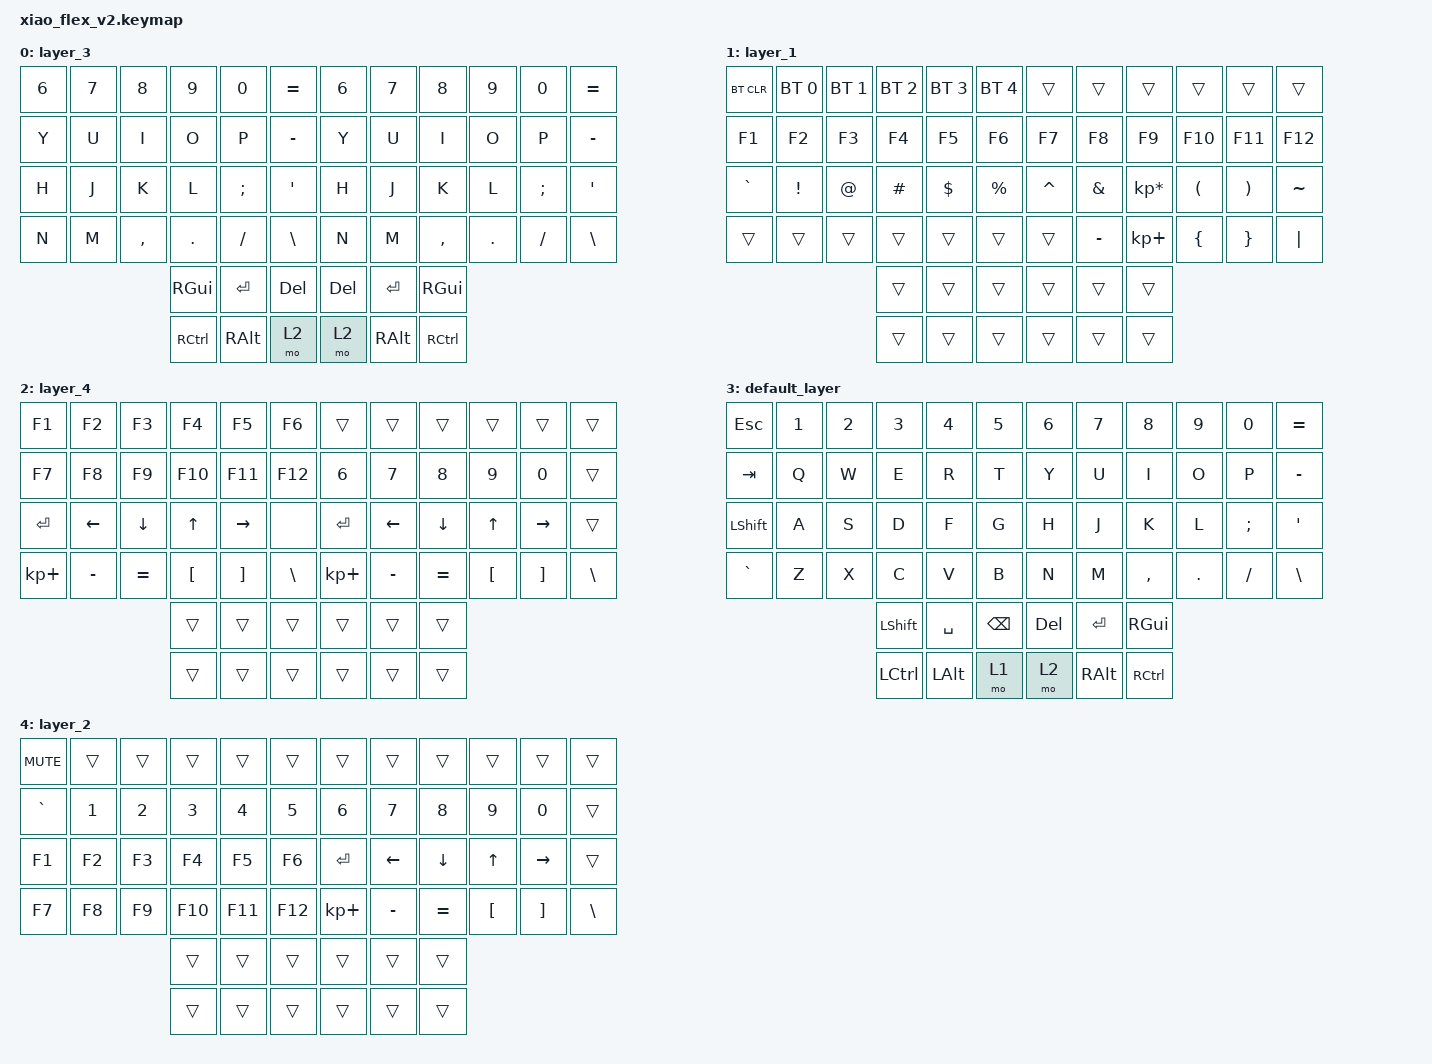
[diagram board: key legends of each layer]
/*
 * Copyright (c) 2020 The ZMK Contributors
 *
 * SPDX-License-Identifier: MIT
 */

#include <behaviors.dtsi>
#include <dt-bindings/zmk/bt.h>
#include <dt-bindings/zmk/keys.h>

/ {
    keymap {
        compatible = "zmk,keymap";

        layer_3 {
            bindings = <
&kp NUMBER_6  &kp NUMBER_7  &kp NUMBER_8  &kp NUMBER_9       &kp NUMBER_0   &kp EQUAL         &kp N6   &kp N7    &kp N8     &kp N9   &kp N0    &kp EQUAL
&kp Y         &kp U         &kp I         &kp O              &kp P          &kp MINUS         &kp Y    &kp U     &kp I      &kp O    &kp P     &kp MINUS
&kp H         &kp J         &kp K         &kp L              &kp SEMICOLON  &kp APOSTROPHE    &kp H    &kp J     &kp K      &kp L    &kp SEMI  &kp SQT
&kp N         &kp M         &kp COMMA     &kp PERIOD         &kp SLASH      &kp BACKSLASH     &kp N    &kp M     &kp COMMA  &kp DOT  &kp FSLH  &kp BSLH
                                          &kp RIGHT_GUI      &kp RETURN     &kp DELETE        &kp DEL  &kp RET   &kp RGUI
                                          &kp RIGHT_CONTROL  &kp RIGHT_ALT  &mo 2             &mo 2    &kp RALT  &kp RCTRL
            >;
        };

        layer_1 {
            bindings = <
&bt BT_CLR  &bt BT_SEL 0     &bt BT_SEL 1  &bt BT_SEL 2  &bt BT_SEL 3  &bt BT_SEL 4    &trans     &trans         &trans           &trans                &trans                 &trans
&kp F1      &kp F2           &kp F3        &kp F4        &kp F5        &kp F6          &kp F7     &kp F8         &kp F9           &kp F10               &kp F11                &kp F12
&kp GRAVE   &kp EXCLAMATION  &kp AT_SIGN   &kp POUND     &kp DOLLAR    &kp PERCENT     &kp CARET  &kp AMPERSAND  &kp KP_MULTIPLY  &kp LEFT_PARENTHESIS  &kp RIGHT_PARENTHESIS  &kp TILDE
&trans      &trans           &trans        &trans        &trans        &trans          &trans     &kp MINUS      &kp KP_PLUS      &kp LEFT_BRACE        &kp RIGHT_BRACE        &kp PIPE
                                           &trans        &trans        &trans          &trans     &trans         &trans
                                           &trans        &trans        &trans          &trans     &trans         &trans
            >;
        };

        layer_4 {
            bindings = <
&kp F1       &kp F2          &kp F3          &kp F4        &kp F5           &kp F6      &trans        &trans          &trans          &trans            &trans             &trans
&kp F7       &kp F8          &kp F9          &kp F10       &kp F11          &kp F12     &kp NUMBER_6  &kp NUMBER_7    &kp NUMBER_8    &kp NUMBER_9      &kp NUMBER_0       &trans
&kp ENTER    &kp LEFT_ARROW  &kp DOWN_ARROW  &kp UP_ARROW  &kp RIGHT_ARROW  &none       &kp ENTER     &kp LEFT_ARROW  &kp DOWN_ARROW  &kp UP_ARROW      &kp RIGHT_ARROW    &trans
&kp KP_PLUS  &kp MINUS       &kp EQUAL       &kp LBKT      &kp RBKT         &kp BSLH    &kp KP_PLUS   &kp MINUS       &kp EQUAL       &kp LEFT_BRACKET  &kp RIGHT_BRACKET  &kp BACKSLASH
                                             &trans        &trans           &trans      &trans        &trans          &trans
                                             &trans        &trans           &trans      &trans        &trans          &trans
            >;
        };

        default_layer {
            bindings = <
&kp ESC    &kp N1  &kp N2  &kp N3     &kp N4     &kp N5      &kp N6   &kp N7    &kp N8     &kp N9   &kp N0    &kp EQUAL
&kp TAB    &kp Q   &kp W   &kp E      &kp R      &kp T       &kp Y    &kp U     &kp I      &kp O    &kp P     &kp MINUS
&kp LSHFT  &kp A   &kp S   &kp D      &kp F      &kp G       &kp H    &kp J     &kp K      &kp L    &kp SEMI  &kp SQT
&kp GRAVE  &kp Z   &kp X   &kp C      &kp V      &kp B       &kp N    &kp M     &kp COMMA  &kp DOT  &kp FSLH  &kp BSLH
                           &kp LSHFT  &kp SPACE  &kp BSPC    &kp DEL  &kp RET   &kp RGUI
                           &kp LCTRL  &kp LALT   &mo 1       &mo 2    &kp RALT  &kp RCTRL
            >;
        };

        layer_2 {
            bindings = <
&kp K_MUTE  &trans        &trans        &trans        &trans        &trans     &trans        &trans          &trans          &trans            &trans             &trans
&kp GRAVE   &kp NUMBER_1  &kp NUMBER_2  &kp NUMBER_3  &kp NUMBER_4  &kp N5     &kp NUMBER_6  &kp NUMBER_7    &kp NUMBER_8    &kp NUMBER_9      &kp NUMBER_0       &trans
&kp F1      &kp F2        &kp F3        &kp F4        &kp F5        &kp F6     &kp ENTER     &kp LEFT_ARROW  &kp DOWN_ARROW  &kp UP_ARROW      &kp RIGHT_ARROW    &trans
&kp F7      &kp F8        &kp F9        &kp F10       &kp F11       &kp F12    &kp KP_PLUS   &kp MINUS       &kp EQUAL       &kp LEFT_BRACKET  &kp RIGHT_BRACKET  &kp BACKSLASH
                                        &trans        &trans        &trans     &trans        &trans          &trans
                                        &trans        &trans        &trans     &trans        &trans          &trans
            >;
        };
    };
};
